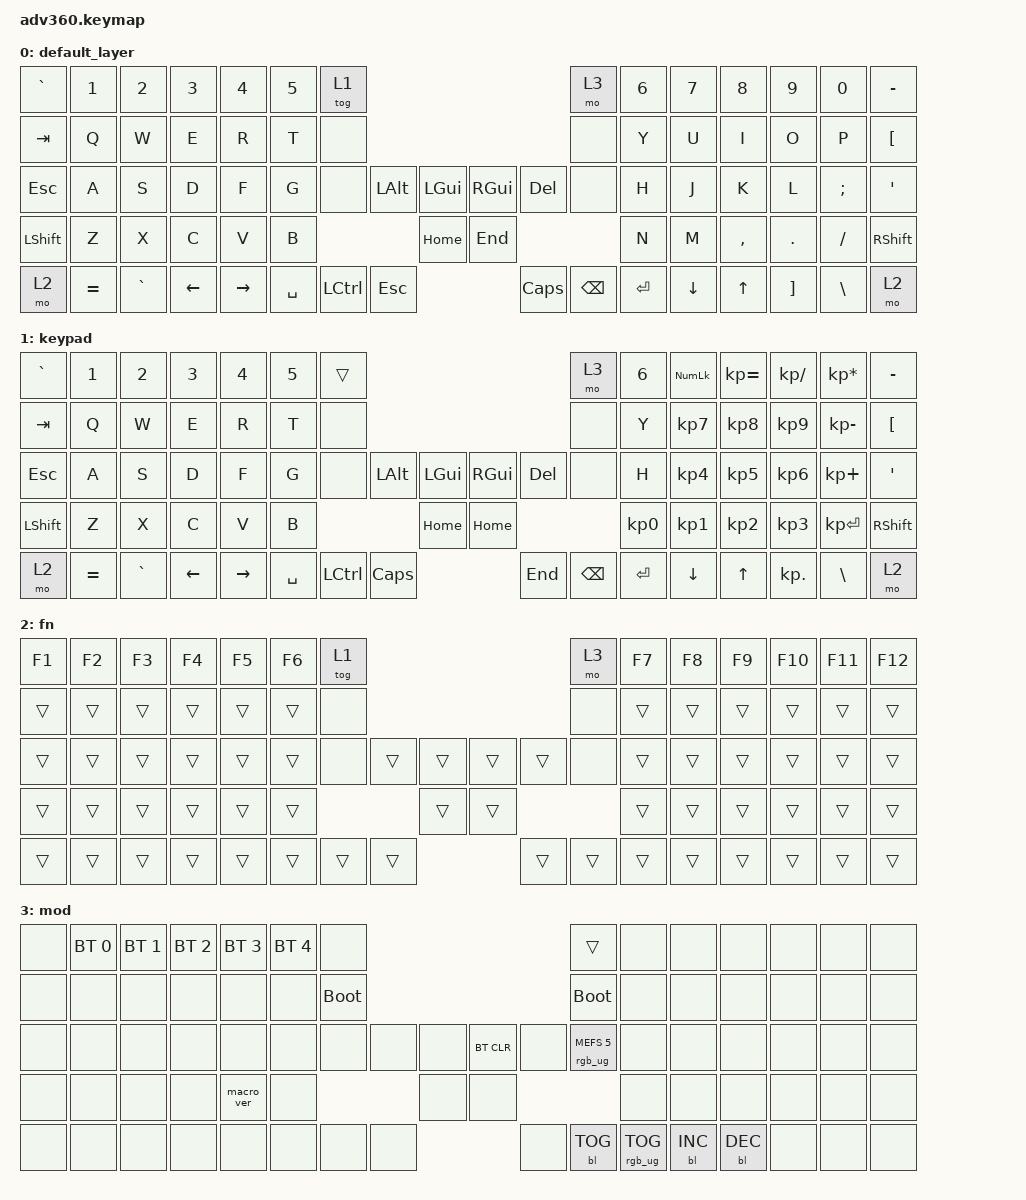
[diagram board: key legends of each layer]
#include <behaviors.dtsi>
#include <dt-bindings/zmk/backlight.h>
#include <dt-bindings/zmk/bt.h>
#include <dt-bindings/zmk/keys.h>
#include <dt-bindings/zmk/rgb.h>

/ {
    behaviors {
        #include "macros.dtsi"
      #include "version.dtsi"
      #ifndef VERSION_MACRO

        macro_ver: macro_ver {
            compatible = "zmk,behavior-macro";
            label = "macro_version";
            #binding-cells = <0>;
            bindings = <&kp RET>;
        };

        #endif

        hm: homerow_mods {
            compatible = "zmk,behavior-hold-tap";
            label = "HOMEROW_MODS";
            #binding-cells = <2>;
            tapping-term-ms = <200>;
            quick_tap_ms = <175>;
            flavor = "tap-preferred";
            bindings = <&kp>, <&kp>;
        };
    };

    macros {
    };

    keymap {
        compatible = "zmk,keymap";

        default_layer {
            bindings = <
&kp GRAVE  &kp N1     &kp N2     &kp N3    &kp N4     &kp N5  &tog 1                                                                        &mo 3  &kp N6  &kp N7    &kp N8     &kp N9    &kp N0    &kp MINUS
&kp TAB    &kp Q      &kp W      &kp E     &kp R      &kp T   &none                                                                         &none  &kp Y   &kp U     &kp I      &kp O     &kp P     &kp LBKT
&kp ESC    &kp A      &kp S      &kp D     &kp F      &kp G   &none              &kp LALT   &kp LGUI    &kp RGUI  &kp DELETE                &none  &kp H   &kp J     &kp K      &kp L     &kp SEMI  &kp SQT
&kp LSHFT  &kp Z      &kp X      &kp C     &kp V      &kp B                                 &kp HOME    &kp END                                    &kp N   &kp M     &kp COMMA  &kp DOT   &kp FSLH  &kp RSHFT
&mo 2      &kp EQUAL  &kp GRAVE  &kp LEFT  &kp RIGHT                  &kp SPACE  &kp LCTRL  &kp ESC     &kp CAPS  &kp BACKSPACE  &kp ENTER                 &kp DOWN  &kp UP     &kp RBKT  &kp BSLH  &mo 2
            >;
        };

        keypad {
            bindings = <
&kp GRAVE  &kp N1     &kp N2     &kp N3    &kp N4     &kp N5  &trans                                                                        &mo 3  &kp N6     &kp KP_NUM  &kp KP_EQUAL  &kp KP_DIVIDE  &kp KP_MULTIPLY  &kp MINUS
&kp TAB    &kp Q      &kp W      &kp E     &kp R      &kp T   &none                                                                         &none  &kp Y      &kp KP_N7   &kp KP_N8     &kp KP_N9      &kp KP_MINUS     &kp LBKT
&kp ESC    &kp A      &kp S      &kp D     &kp F      &kp G   &none              &kp LALT   &kp LGUI    &kp RGUI  &kp DELETE                &none  &kp H      &kp KP_N4   &kp KP_N5     &kp KP_N6      &kp KP_PLUS      &kp SQT
&kp LSHFT  &kp Z      &kp X      &kp C     &kp V      &kp B                                 &kp HOME    &kp HOME                                   &kp KP_N0  &kp KP_N1   &kp KP_N2     &kp KP_N3      &kp KP_ENTER     &kp RSHFT
&mo 2      &kp EQUAL  &kp GRAVE  &kp LEFT  &kp RIGHT                  &kp SPACE  &kp LCTRL  &kp CAPS    &kp END   &kp BACKSPACE  &kp ENTER                    &kp DOWN    &kp UP        &kp KP_DOT     &kp BSLH         &mo 2
            >;
        };

        fn {
            bindings = <
&kp F1  &kp F2  &kp F3  &kp F4  &kp F5  &kp F6  &tog 1                                                    &mo 3  &kp F7  &kp F8  &kp F9  &kp F10  &kp F11  &kp F12
&trans  &trans  &trans  &trans  &trans  &trans  &none                                                     &none  &trans  &trans  &trans  &trans   &trans   &trans
&trans  &trans  &trans  &trans  &trans  &trans  &none           &trans  &trans    &trans  &trans          &none  &trans  &trans  &trans  &trans   &trans   &trans
&trans  &trans  &trans  &trans  &trans  &trans                          &trans    &trans                         &trans  &trans  &trans  &trans   &trans   &trans
&trans  &trans  &trans  &trans  &trans                  &trans  &trans  &trans    &trans  &trans  &trans                 &trans  &trans  &trans   &trans   &trans
            >;
        };

        mod {
            bindings = <
&none  &bt BT_SEL 0  &bt BT_SEL 1  &bt BT_SEL 2  &bt BT_SEL 3  &bt BT_SEL 4  &none                                                                        &trans                  &none  &none       &none       &none  &none  &none
&none  &none         &none         &none         &none         &none         &bootloader                                                                  &bootloader             &none  &none       &none       &none  &none  &none
&none  &none         &none         &none         &none         &none         &none               &none  &none    &bt BT_CLR  &none                        &rgb_ug RGB_MEFS_CMD 5  &none  &none       &none       &none  &none  &none
&none  &none         &none         &none         &macro_ver    &none                                    &none    &none                                                            &none  &none       &none       &none  &none  &none
&none  &none         &none         &none         &none                                    &none  &none  &none    &none       &bl BL_TOG  &rgb_ug RGB_TOG                                 &bl BL_INC  &bl BL_DEC  &none  &none  &none
            >;
        };
    };
};
